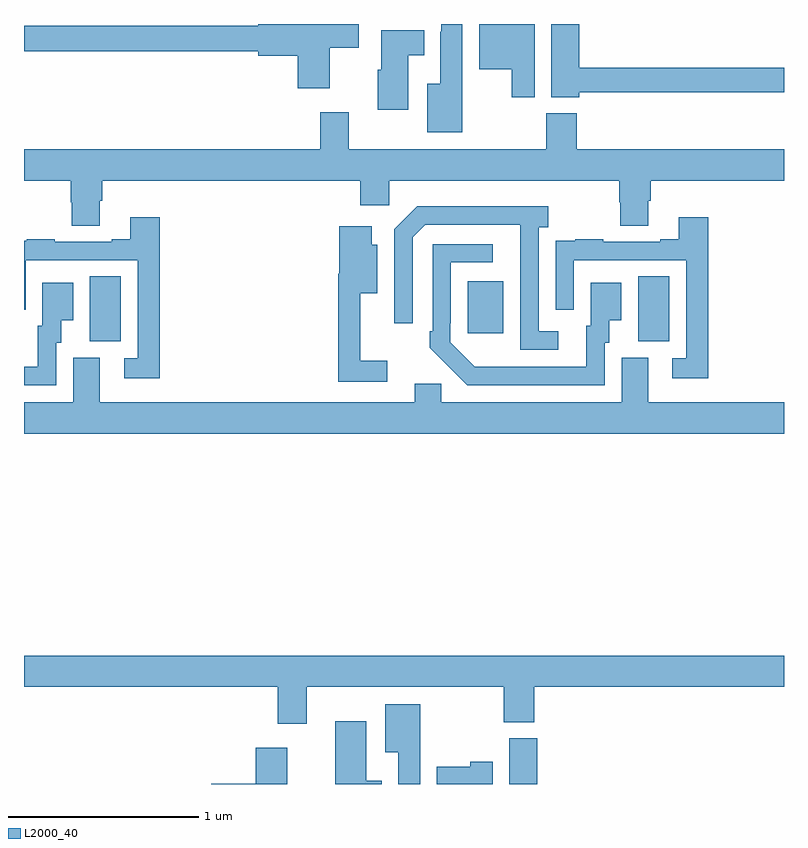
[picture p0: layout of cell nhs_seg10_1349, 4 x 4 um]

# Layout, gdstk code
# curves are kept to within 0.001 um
import gdstk
lib = gdstk.Library(unit=1e-6, precision=1e-09)
def R(c, l, rs):  # rectangles x0, y0, x1, y1
    for r in rs: c.add(gdstk.rectangle(r[:2], r[2:], *l))
def P(c, l, *ps):  # polygons
    for p in ps: c.add(gdstk.Polygon(p, *l))
L2000_40 = (2000, 40)

nhs_seg10_1349 = lib.new_cell('nhs_seg10_1349')
R(nhs_seg10_1349, L2000_40, [(183.554,1270.5,183.701,1270.74), (181.346,1272.829,181.51,1273.172), (184.232,1272.829,184.396,1273.172), (183.335,1272.873,183.523,1273.147)])
P(nhs_seg10_1349, L2000_40, [(183.307,1274.5),(183.195,1274.5),(183.195,1274.459),(183.191,1274.459),(183.191,1274.185),(183.122,1274.185),(183.122,1273.931),(183.307,1273.931)],
  [(182.608,1274.374),(182.761,1274.374),(182.761,1274.5),(182.234,1274.5),(182.234,1274.492),(181,1274.492),(181,1274.356),(182.234,1274.356),(182.234,1274.333),(182.441,1274.333),(182.441,1274.163),(182.608,1274.163)],
  [(183.923,1274.142),(185,1274.142),(185,1274.27),(183.923,1274.27),(183.923,1274.5),(183.776,1274.5),(183.776,1274.114),(183.923,1274.114)],
  [(183.688,1274.5),(183.395,1274.5),(183.395,1274.261),(183.566,1274.261),(183.566,1274.115),(183.688,1274.115)],
  [(183.022,1274.336),(183.106,1274.336),(183.106,1274.467),(182.879,1274.467),(182.879,1274.259),(182.861,1274.259),(182.861,1274.049),(183.022,1274.049)],
  [(181.399,1273.57),(181.412,1273.57),(181.412,1273.676),(182.771,1273.676),(182.771,1273.545),(182.922,1273.545),(182.922,1273.676),(184.133,1273.676),(184.133,1273.563),(184.138,1273.563),(184.138,1273.438),(184.285,1273.438),(184.285,1273.57),(184.298,1273.57),(184.298,1273.676),(185,1273.676),(185,1273.84),(183.908,1273.84),(183.908,1274.029),(183.748,1274.029),(183.748,1273.84),(182.71,1273.84),(182.71,1274.035),(182.558,1274.035),(182.558,1273.84),(181,1273.84),(181,1273.676),(181.247,1273.676),(181.247,1273.563),(181.252,1273.563),(181.252,1273.438),(181.399,1273.438)],
  [(183.811,1272.882),(183.708,1272.882),(183.708,1273.43),(183.76,1273.43),(183.76,1273.54),(183.07,1273.54),(182.949,1273.419),(182.949,1272.924),(183.045,1272.924),(183.045,1273.377),(183.111,1273.443),(183.611,1273.443),(183.612,1272.786),(183.811,1272.786)],
  [(181.715,1273.483),(181.559,1273.483),(181.559,1273.366),(181.463,1273.366),(181.463,1273.353),(181.163,1273.353),(181.163,1273.366),(181.015,1273.366),(181.015,1273.359),(181,1273.359),(181,1272.996),(181.008,1272.996),(181.008,1273.257),(181.599,1273.257),(181.599,1272.741),(181.527,1272.741),(181.527,1272.636),(181.715,1272.636)],
  [(184.601,1273.483),(184.445,1273.483),(184.445,1273.366),(184.349,1273.366),(184.349,1273.353),(184.049,1273.353),(184.049,1273.366),(183.901,1273.366),(183.901,1273.359),(183.799,1273.359),(183.799,1273.25),(183.798,1273.25),(183.798,1272.996),(183.894,1272.996),(183.894,1273.257),(184.485,1273.257),(184.485,1272.741),(184.413,1272.741),(184.413,1272.636),(184.601,1272.636)],
  [(182.911,1272.727),(182.771,1272.727),(182.771,1273.082),(182.86,1273.082),(182.86,1273.339),(182.83,1273.339),(182.83,1273.435),(182.66,1273.435),(182.66,1273.186),(182.653,1273.186),(182.653,1272.618),(182.911,1272.618)],
  [(184.056,1272.822),(184.081,1272.822),(184.081,1272.941),(184.144,1272.941),(184.144,1273.138),(183.983,1273.138),(183.983,1272.912),(183.959,1272.912),(183.959,1272.696),(183.372,1272.697),(183.243,1272.825),(183.243,1272.925),(183.246,1272.925),(183.246,1273.245),(183.466,1273.245),(183.466,1273.341),(183.15,1273.341),(183.15,1272.883),(183.135,1272.883),(183.135,1272.795),(183.332,1272.6),(184.056,1272.6)],
  [(181.17,1272.822),(181.195,1272.822),(181.195,1272.941),(181.258,1272.941),(181.258,1273.138),(181.097,1273.138),(181.097,1272.912),(181.073,1272.912),(181.073,1272.696),(181,1272.696),(181,1272.6),(181.17,1272.6)],
  [(185,1272.508),(184.285,1272.508),(184.285,1272.744),(184.145,1272.744),(184.145,1272.508),(183.195,1272.508),(183.195,1272.606),(183.056,1272.606),(183.056,1272.508),(181.399,1272.508),(181.399,1272.744),(181.259,1272.744),(181.259,1272.508),(181,1272.508),(181,1272.344),(185,1272.344)],
  [(182.488,1271.012),(183.526,1271.012),(183.526,1270.825),(183.686,1270.825),(183.686,1271.012),(185,1271.012),(185,1271.176),(181,1271.176),(181,1271.012),(182.336,1271.012),(182.336,1270.818),(182.488,1270.818)],
  [(183.085,1270.921),(182.9,1270.921),(182.9,1270.667),(182.969,1270.667),(182.969,1270.5),(183.085,1270.5)],
  [(182.884,1270.516),(182.8,1270.516),(182.8,1270.831),(182.639,1270.831),(182.639,1270.5),(182.884,1270.5)],
  [(182.386,1270.69),(182.219,1270.69),(182.219,1270.502),(181.986,1270.502),(181.986,1270.5),(182.386,1270.5)],
  [(183.466,1270.618),(183.348,1270.618),(183.348,1270.591),(183.173,1270.591),(183.173,1270.5),(183.466,1270.5)])

lib.write_gds('nhs_seg10_1349.gds')
